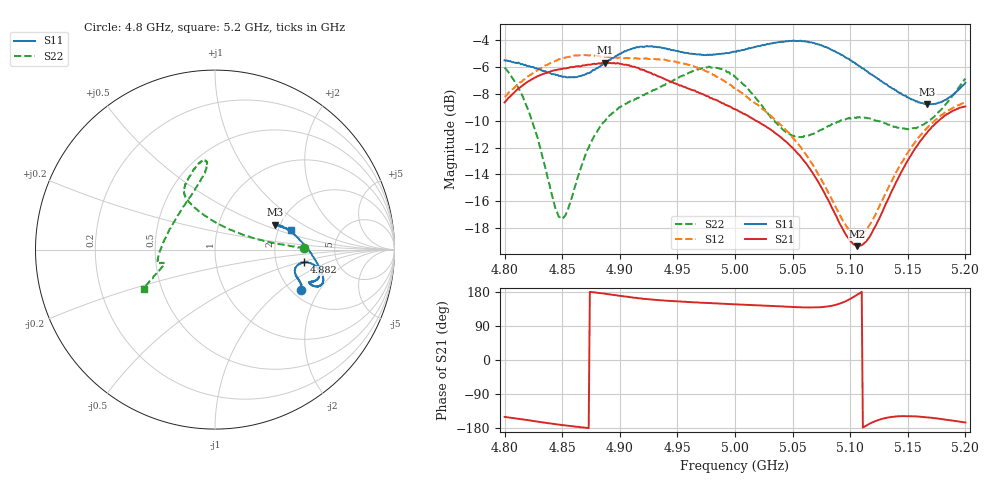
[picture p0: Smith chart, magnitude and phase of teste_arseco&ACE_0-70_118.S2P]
! Network Analyzer HP8722D
! Hewlett-Packard
! Data name: Linha & Wilkinson
! Saver's name: Rodrigo Anjos
! Comments: Teste da utilização de aquisição
! continua pelo VNA HP8722D
! Time and date: 8/5/2025 13:44
!  Frequency  S11  S21  S12  S22
# HZ  S  MA R 50
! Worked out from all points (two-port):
!   401 points, 4.8 GHz to 5.2 GHz, reference 50 ohm
!   highest |S21| = -5.66 dB at 4.887 GHz (marker M1); lowest = -19.4 dB at 5.106 GHz (marker M2)
!   |S21| within 3 dB of the highest: start of sweep to 4.988 GHz
!   lowest |S11| = -8.8 dB at 5.167 GHz (marker M3), VSWR 2.15, Z = 94.4 + j30.3 ohm
!   |S11| at or under -10 dB: nowhere
!   |S22| runs from -17.3 to -6.0 dB; largest |S21 - S12| = 1.1
!   S11 on the Smith chart (normalised r, x): 4.8 GHz: 2.23, -1.41; 4.882 GHz: 2.90, -0.55; 5.2 GHz: 2.35, +0.64
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4.8e9  0.5316 -25.3  0.37 -150.1  0.3881 9.2  0.4987 1.2
4.822e9  0.5038 -20.7  0.4469 -159.4  0.4681 6.0  0.3331 6.2
4.843e9  0.4713 -17.3  0.4874 -169.0  0.5254 2.8  0.1553 38.5
4.848e9  0.4647 -16.4  0.4911 -170.8  0.5369 1.8  0.138 57.6
4.855e9  0.4585 -14.5  0.4975 -173.5  0.547 0.7  0.1476 86.0
4.867e9  0.466 -11.0  0.5062 -177.7  0.5547 -1.0  0.216 110.2
4.882e9  0.502 -8.1  0.5188 176.7  0.5527 -2.0  0.2966 118.1
4.887e9  0.5188 -7.9  0.5211 174.9  0.5492 -2.0  0.3149 118.9
4.913e9  0.5908 -11.5  0.5025 164.1  0.5416 -1.6  0.3808 116.7
4.934e9  0.595 -16.2  0.4621 157.8  0.5367 -2.3  0.42 111.1
4.976e9  0.5578 -19.2  0.3903 150.4  0.4817 -6.2  0.4999 97.5
5e9  0.5725 -20.1  0.3493 146.8  0.4201 -6.1  0.4608 96.0
5.044e9  0.6256 -18.0  0.2652 140.7  0.2917 2.1  0.2874 131.9
5.067e9  0.6184 -13.7  0.2034 138.6  0.2186 9.1  0.2819 165.1
5.095e9  0.5488 -4.2  0.1214 153.5  0.1313 33.8  0.3196 -172.2
5.106e9  0.5118 0.9  0.1077 172.1  0.1187 54.7  0.3259 -168.4
5.116e9  0.4776 6.0  0.1154 -169.6  0.1277 74.4  0.323 -166.8
5.134e9  0.4233 14.7  0.1647 -151.2  0.1809 94.5  0.3054 -166.0
5.151e9  0.3846 20.8  0.2286 -148.1  0.2445 100.2  0.2944 -164.6
5.167e9  0.3643 22.5  0.2863 -151.5  0.2984 101.3  0.3128 -161.4
5.182e9  0.3772 20.4  0.3306 -157.1  0.3389 101.5  0.3598 -157.1
5.2e9  0.438 14.6  0.3576 -164.9  0.3708 101.8  0.4538 -151.2
